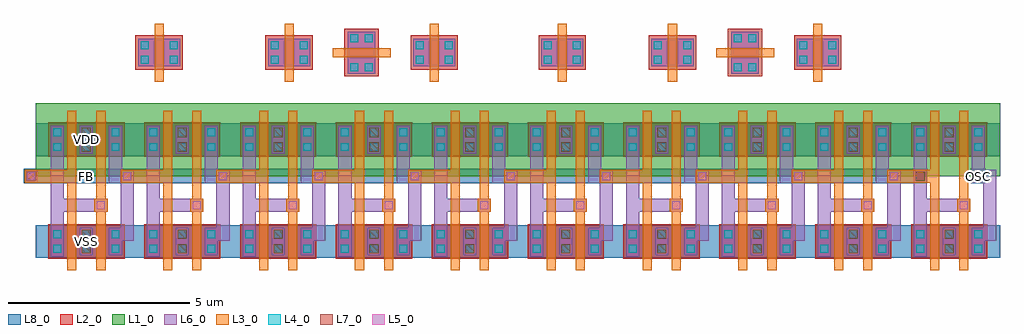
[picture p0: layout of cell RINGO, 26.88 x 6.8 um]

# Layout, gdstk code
from math import pi, radians
import gdstk
lib = gdstk.Library(unit=1e-6, precision=1e-09)
def R(c, l, rs):  # rectangles x0, y0, x1, y1
    for r in rs: c.add(gdstk.rectangle(r[:2], r[2:], *l))
L1_0 = (1, 0)
L2_0 = (2, 0)
L3_0 = (3, 0)
L4_0 = (4, 0)
L5_0 = (5, 0)
L6_0 = (6, 0)
L7_0 = (7, 0)
L8_0 = (8, 0)

trans = lib.new_cell('TRANS')
R(trans, L2_0, [(-0.65,-0.475,0.65,0.475)])
R(trans, L4_0, [(-0.51,-0.31,-0.29,-0.09), (0.29,-0.31,0.51,-0.09), (-0.51,0.09,-0.29,0.31), (0.29,0.09,0.51,0.31)])
R(trans, L6_0, [(-0.58,-0.38,-0.22,0.38), (0.22,-0.38,0.58,0.38)])
trans.add(gdstk.FlexPath([(0,-0.8),(0,0.8)], 0.25, ends="flush", simple_path=True, layer=3, datatype=0))  # L3_0

inv2 = lib.new_cell('INV2')
R(inv2, L1_0, [(-1.4,1.8,1.4,3.8)])
R(inv2, L3_0, [(-0.525,-0.25,-0.275,2.25), (0.275,-0.25,0.525,2.25), (0.22,0.82,0.58,1.18), (-1.7,1.62,-0.4,1.98)])
R(inv2, L5_0, [(0.29,0.89,0.51,1.11), (-1.63,1.69,-1.41,1.91)])
R(inv2, L6_0, [(-0.98,-0.42,-0.62,2.42), (-0.8,0.82,0.58,1.18)])
R(inv2, L7_0, [(-0.125,-0.325,0.125,-0.075), (-0.125,0.075,0.125,0.325), (-0.125,2.475,0.125,2.725), (-0.125,2.875,0.125,3.125)])
R(inv2, L8_0, [(-1.4,-0.45,1.4,0.45), (-1.4,2.35,1.4,3.25)])
inv2.add(gdstk.FlexPath([(0.8,0.2),(1.12,0.2),(1.12,1.8),(0.8,1.8),(0.8,2.42)], 0.36, ends="flush", simple_path=True, layer=6, datatype=0))  # L6_0
inv2.add(gdstk.Reference(trans, (-0.4,0)))
inv2.add(gdstk.Reference(trans, (-0.4,2.8)))
inv2.add(gdstk.Reference(trans, (0.4,0), x_reflection=True))
inv2.add(gdstk.Reference(trans, (0.4,2.8), x_reflection=True))
inv2.add(gdstk.Label('IN', (-0.8,1.8), layer=3, texttype=1))
inv2.add(gdstk.Label('OUT', (0.8,1.8), layer=6, texttype=1))

transiso = lib.new_cell('TRANSISO')
R(transiso, L2_0, [(-0.65,-0.475,0.65,0.475)])
R(transiso, L4_0, [(-0.51,-0.31,-0.29,-0.09), (0.29,-0.31,0.51,-0.09), (-0.51,0.09,-0.29,0.31), (0.29,0.09,0.51,0.31)])
R(transiso, L6_0, [(-0.58,-0.38,-0.22,0.38), (-0.22,-0.38,0.22,0.38), (0.22,-0.38,0.58,0.38)])
transiso.add(gdstk.FlexPath([(0,-0.8),(0,0.8)], 0.25, ends="flush", simple_path=True, layer=3, datatype=0))  # L3_0

transisob = lib.new_cell('TRANSISOB')
R(transisob, L2_0, [(-0.65,-0.475,0.65,0.475)])
R(transisob, L4_0, [(-0.51,-0.31,-0.29,-0.09), (0.29,-0.31,0.51,-0.09), (-0.51,0.09,-0.29,0.31), (0.29,0.09,0.51,0.31)])
R(transisob, L6_0, [(-0.58,-0.38,-0.22,0.38), (-0.22,-0.38,0.22,0.38), (0.22,-0.38,0.58,0.38)])
transisob.add(gdstk.FlexPath([(0,-0.8),(0,0.8)], 0.25, ends="flush", simple_path=True, layer=3, datatype=0))  # L3_0

inv2x = lib.new_cell('INV2X')
inv2x.add(gdstk.Reference(inv2, (1.7,0.8)))
inv2x.add(gdstk.Reference(inv2, (4.34,0.8)))
inv2x.add(gdstk.Reference(transiso, (2,6)))
inv2x.add(gdstk.Reference(transiso, (4,6), rotation=pi/2))
inv2x.add(gdstk.Reference(transisob, (6,6)))

ringo = lib.new_cell('RINGO')
R(ringo, L6_0, [(-1.7,1.62,-1.34,1.98)])
R(ringo, L7_0, [(-1.645,1.675,-1.395,1.925), (22.835,1.675,23.085,1.925), (24.435,1.675,24.685,1.925)])
R(ringo, L8_0, [(-1.72,1.6,23.16,2), (24.36,1.6,24.76,2)])
ringo.add(gdstk.Reference(inv2, (0,0)))
ringo.add(gdstk.Reference(inv2, (2.64,0)))
ringo.add(gdstk.Reference(inv2x, (14.14,-0.8)))
ringo.add(gdstk.Reference(transiso, (2,5.2), rotation=pi))
ringo.add(gdstk.Reference(inv2, (10.56,0)))
ringo.add(gdstk.Reference(inv2, (13.2,0)))
ringo.add(gdstk.Reference(transisob, (13.1,5.2)))
ringo.add(gdstk.Reference(inv2, (21.12,0)))
ringo.add(gdstk.Reference(inv2, (23.76,0)))
ringo.add(gdstk.Reference(inv2x, (3.58,-0.8)))
ringo.add(gdstk.Label('OSC', (24.56,1.8), layer=8, texttype=1))
ringo.add(gdstk.Label('FB', (0,1.8), layer=8, texttype=1))
ringo.add(gdstk.Label('VSS', (0,0), layer=8, texttype=1))
ringo.add(gdstk.Label('VDD', (0,2.8), layer=8, texttype=1))

lib.write_gds('RINGO.gds')
